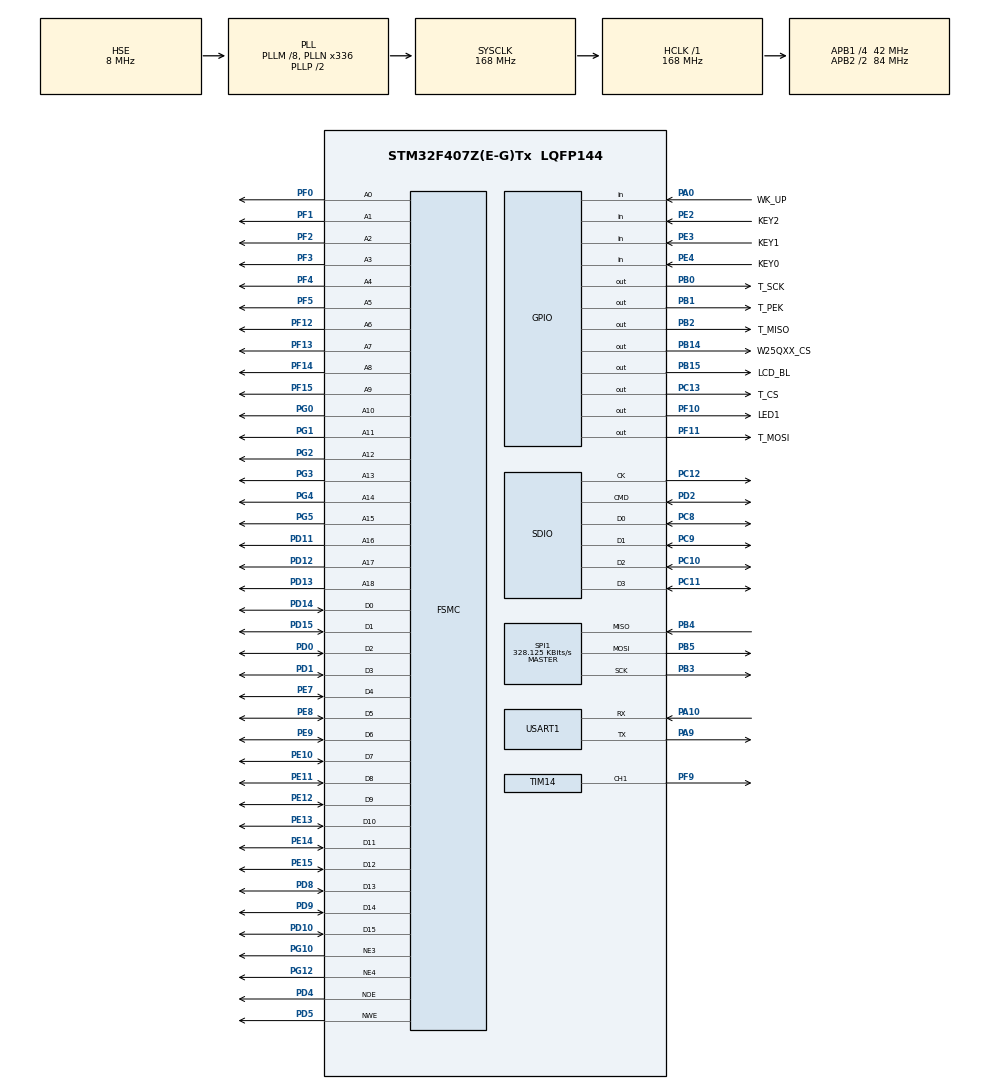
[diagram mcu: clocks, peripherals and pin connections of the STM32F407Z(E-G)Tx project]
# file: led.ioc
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FSMC.AddressSetupTime1=0xF
FSMC.AddressSetupTime2=0
FSMC.BusTurnAroundDuration1=0
FSMC.BusTurnAroundDuration2=0
FSMC.DataSetupTime1=60
FSMC.DataSetupTime2=8
FSMC.ExtendedAddressSetupTime1=9
FSMC.ExtendedBusTurnAroundDuration1=0
FSMC.ExtendedDataSetupTime1=8
FSMC.ExtendedMode1=FSMC_EXTENDED_MODE_ENABLE
FSMC.WriteOperation2=FSMC_WRITE_OPERATION_ENABLE
Mcu.Family=STM32F4
Mcu.Name=STM32F407Z(E-G)Tx
Mcu.Package=LQFP144
NVIC.PriorityGroup=NVIC_PRIORITYGROUP_4
NVIC.TIM2_IRQn=true\:0\:0\:true\:false\:true\:true\:true
NVIC.TIM8_TRG_COM_TIM14_IRQn=true\:0\:0\:false\:false\:true\:true\:true
PA0-WKUP.GPIO_Label=WK_UP
PA0-WKUP.GPIO_PuPd=GPIO_PULLDOWN
PA0-WKUP.Signal=GPIO_Input
PA10.Mode=Asynchronous
PA10.Signal=USART1_RX
PA13.Mode=Serial_Wire
PA13.Signal=SYS_JTMS-SWDIO
PA14.Mode=Serial_Wire
PA14.Signal=SYS_JTCK-SWCLK
PA9.Mode=Asynchronous
PA9.Signal=USART1_TX
PB0.GPIO_Label=T_SCK
PB0.Signal=GPIO_Output
PB1.GPIO_Label=T_PEK
PB1.Signal=GPIO_Output
PB14.GPIO_Label=W25QXX_CS
PB14.Signal=GPIO_Output
PB15.GPIO_Label=LCD_BL
PB15.Signal=GPIO_Output
PB2.GPIO_Label=T_MISO
PB2.Signal=GPIO_Output
PB3.Mode=Full_Duplex_Master
PB3.Signal=SPI1_SCK
PB4.Mode=Full_Duplex_Master
PB4.Signal=SPI1_MISO
PB5.Mode=Full_Duplex_Master
PB5.Signal=SPI1_MOSI
PC10.Mode=SD_4_bits_Wide_bus
PC10.Signal=SDIO_D2
PC11.Mode=SD_4_bits_Wide_bus
PC11.Signal=SDIO_D3
PC12.Mode=SD_4_bits_Wide_bus
PC12.Signal=SDIO_CK
PC13-ANTI_TAMP.GPIO_Label=T_CS
PC13-ANTI_TAMP.Signal=GPIO_Output
PC8.Mode=SD_4_bits_Wide_bus
PC8.Signal=SDIO_D0
PC9.Mode=SD_4_bits_Wide_bus
PC9.Signal=SDIO_D1
PD0.Signal=FSMC_D2_DA2
PD1.Signal=FSMC_D3_DA3
PD10.Signal=FSMC_D15_DA15
PD11.Signal=FSMC_A16_CLE
PD12.Signal=FSMC_A17_ALE
PD13.Signal=FSMC_A18
PD14.Signal=FSMC_D0_DA0
PD15.Signal=FSMC_D1_DA1
PD2.Mode=SD_4_bits_Wide_bus
PD2.Signal=SDIO_CMD
PD4.Signal=FSMC_NOE
PD5.Signal=FSMC_NWE
PD8.Signal=FSMC_D13_DA13
PD9.Signal=FSMC_D14_DA14
PE10.Signal=FSMC_D7_DA7
PE11.Signal=FSMC_D8_DA8
PE12.Signal=FSMC_D9_DA9
PE13.Signal=FSMC_D10_DA10
PE14.Signal=FSMC_D11_DA11
PE15.Signal=FSMC_D12_DA12
PE2.GPIO_Label=KEY2
PE2.GPIO_PuPd=GPIO_PULLUP
PE2.Signal=GPIO_Input
PE3.GPIO_Label=KEY1
PE3.GPIO_PuPd=GPIO_PULLUP
PE3.Signal=GPIO_Input
PE4.GPIO_Label=KEY0
PE4.GPIO_PuPd=GPIO_PULLUP
PE4.Signal=GPIO_Input
PE7.Signal=FSMC_D4_DA4
PE8.Signal=FSMC_D5_DA5
PE9.Signal=FSMC_D6_DA6
PF0.Signal=FSMC_A0
PF1.Signal=FSMC_A1
PF10.GPIO_Label=LED1
PF10.Signal=GPIO_Output
PF11.GPIO_Label=T_MOSI
PF11.Signal=GPIO_Output
PF12.Signal=FSMC_A6
PF13.Signal=FSMC_A7
PF14.Signal=FSMC_A8
PF15.Signal=FSMC_A9
PF2.Signal=FSMC_A2
PF3.Signal=FSMC_A3
PF4.Signal=FSMC_A4
PF5.Signal=FSMC_A5
PF9.Signal=S_TIM14_CH1
PG0.Signal=FSMC_A10
PG1.Signal=FSMC_A11
PG10.Mode=NorPsramChipSelect3_2
PG10.Signal=FSMC_NE3
PG12.Mode=NorPsramChipSelect4_1
PG12.Signal=FSMC_NE4
PG2.Signal=FSMC_A12
PG3.Signal=FSMC_A13
PG4.Signal=FSMC_A14
PG5.Signal=FSMC_A15
PH0-OSC_IN.Mode=HSE-External-Oscillator
PH0-OSC_IN.Signal=RCC_OSC_IN
PH1-OSC_OUT.Mode=HSE-External-Oscillator
PH1-OSC_OUT.Signal=RCC_OSC_OUT
ProjectManager.HeapSize=0x200
ProjectManager.StackSize=0x400
ProjectManager.TargetToolchain=MDK-ARM V5.27
RCC.48MHZClocksFreq_Value=42000000
RCC.AHBFreq_Value=168000000
RCC.APB1CLKDivider=RCC_HCLK_DIV4
RCC.APB1Freq_Value=42000000
RCC.APB1TimFreq_Value=84000000
RCC.APB2CLKDivider=RCC_HCLK_DIV2
RCC.APB2Freq_Value=84000000
RCC.APB2TimFreq_Value=168000000
RCC.CortexFreq_Value=168000000
RCC.HCLKFreq_Value=168000000
RCC.HSE_VALUE=8000000
RCC.HSI_VALUE=16000000
RCC.LSE_VALUE=32768
RCC.PLLM=8
RCC.PLLN=336
RCC.PLLQ=8
RCC.PLLSourceVirtual=RCC_PLLSOURCE_HSE
RCC.SYSCLKFreq_VALUE=168000000
RCC.SYSCLKSource=RCC_SYSCLKSOURCE_PLLCLK
RCC.VCOOutputFreq_Value=336000000
SH.FSMC_A0.0=FSMC_A0,19b-a2
SH.FSMC_A1.0=FSMC_A1,19b-a2
SH.FSMC_A10.0=FSMC_A10,19b-a2
SH.FSMC_A11.0=FSMC_A11,19b-a2
SH.FSMC_A12.0=FSMC_A12,19b-a2
SH.FSMC_A13.0=FSMC_A13,19b-a2
SH.FSMC_A14.0=FSMC_A14,19b-a2
SH.FSMC_A15.0=FSMC_A15,19b-a2
SH.FSMC_A16_CLE.0=FSMC_A16,19b-a2
SH.FSMC_A17_ALE.0=FSMC_A17,19b-a2
SH.FSMC_A18.0=FSMC_A18,19b-a2
SH.FSMC_A2.0=FSMC_A2,19b-a2
SH.FSMC_A3.0=FSMC_A3,19b-a2
SH.FSMC_A4.0=FSMC_A4,19b-a2
SH.FSMC_A5.0=FSMC_A5,19b-a2
SH.FSMC_A6.0=FSMC_A6,A6_1
SH.FSMC_A6.1=FSMC_A6,19b-a2
SH.FSMC_A7.0=FSMC_A7,19b-a2
SH.FSMC_A8.0=FSMC_A8,19b-a2
SH.FSMC_A9.0=FSMC_A9,19b-a2
SH.FSMC_D0_DA0.0=FSMC_D0,16b-d1
SH.FSMC_D0_DA0.1=FSMC_D0,8b-d2
SH.FSMC_D10_DA10.0=FSMC_D10,16b-d1
SH.FSMC_D11_DA11.0=FSMC_D11,16b-d1
SH.FSMC_D12_DA12.0=FSMC_D12,16b-d1
SH.FSMC_D13_DA13.0=FSMC_D13,16b-d1
SH.FSMC_D14_DA14.0=FSMC_D14,16b-d1
SH.FSMC_D15_DA15.0=FSMC_D15,16b-d1
SH.FSMC_D1_DA1.0=FSMC_D1,16b-d1
SH.FSMC_D1_DA1.1=FSMC_D1,8b-d2
SH.FSMC_D2_DA2.0=FSMC_D2,16b-d1
SH.FSMC_D2_DA2.1=FSMC_D2,8b-d2
SH.FSMC_D3_DA3.0=FSMC_D3,16b-d1
SH.FSMC_D3_DA3.1=FSMC_D3,8b-d2
SH.FSMC_D4_DA4.0=FSMC_DA4
SH.FSMC_D4_DA4.1=FSMC_D4,16b-d1
SH.FSMC_D4_DA4.2=FSMC_D4,8b-d2
SH.FSMC_D5_DA5.0=FSMC_D5,16b-d1
SH.FSMC_D5_DA5.1=FSMC_D5,8b-d2
SH.FSMC_D6_DA6.0=FSMC_D6,16b-d1
SH.FSMC_D6_DA6.1=FSMC_D6,8b-d2
SH.FSMC_D7_DA7.0=FSMC_D7,16b-d1
SH.FSMC_D7_DA7.1=FSMC_D7,8b-d2
SH.FSMC_D8_DA8.0=FSMC_D8,16b-d1
SH.FSMC_D9_DA9.0=FSMC_D9,16b-d1
SH.FSMC_NOE.0=FSMC_NOE,Lcd1
SH.FSMC_NOE.1=FSMC_NOE,Sram2
SH.FSMC_NWE.0=FSMC_NWE,Lcd1
SH.FSMC_NWE.1=FSMC_NWE,Sram2
SH.S_TIM14_CH1.0=TIM14_CH1,PWM Generation1 CH1
SPI1.BaudRatePrescaler=SPI_BAUDRATEPRESCALER_256
SPI1.CLKPhase=SPI_PHASE_2EDGE
SPI1.CLKPolarity=SPI_POLARITY_HIGH
SPI1.CRCCalculation=SPI_CRCCALCULATION_ENABLE
SPI1.CalculateBaudRate=328.125 KBits/s
SPI1.Direction=SPI_DIRECTION_2LINES
SPI1.Mode=SPI_MODE_MASTER
SPI1.VirtualType=VM_MASTER
TIM14.Channel=TIM_CHANNEL_1
TIM14.Period=3000-1
TIM14.Prescaler=84-1
TIM2.Period=999
TIM2.Prescaler=83
TIM3.Period=1
TIM3.Prescaler=83
USART1.VirtualMode=VM_ASYNC
VP_TIM14_VS_ClockSourceINT.Mode=Enable_Timer
VP_TIM2_VS_ClockSourceINT.Mode=Internal
VP_TIM3_VS_ClockSourceINT.Mode=Internal
board=custom

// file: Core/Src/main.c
/* USER CODE BEGIN Header */
/**
  ******************************************************************************
  * @file           : main.c
  * @brief          : Main program body
  ******************************************************************************
  * @attention
  *
  * <h2><center>&copy; Copyright (c) 2020 STMicroelectronics.
  * All rights reserved.</center></h2>
  *
  * This software component is licensed by ST under BSD 3-Clause license,
  * the "License"; You may not use this file except in compliance with the
  * License. You may obtain a copy of the License at:
  *                        opensource.org/licenses/BSD-3-Clause
  *
  ******************************************************************************
  */
/* USER CODE END Header */
#include "main.h"
#include "sdio.h"
#include "spi.h"
#include "tim.h"
#include "usart.h"
#include "gpio.h"
#include "fsmc.h"

/* USER CODE BEGIN Includes */
#include "key.h"
#include "os.h"
#include "lcd.h"
#include "touch.h"
#include "mydelay.h"
#include "sram.h"
#include "ctrl.h"
#include "mymalloc.h"
#include "w25qxx.h"
/* USER CODE END Includes */

void SystemClock_Config(void);

/* USER CODE BEGIN 0 */

#ifdef __GNUC__
/* With GCC, small printf (option LD Linker->Libraries->Small printf
   set to 'Yes') calls __io_putchar() */
#define PUTCHAR_PROTOTYPE int __io_putchar(int ch)
#else
#define PUTCHAR_PROTOTYPE int fputc(int ch, FILE *f)
#endif /* __GNUC__ */

PUTCHAR_PROTOTYPE
{
    HAL_UART_Transmit(&huart1 , (uint8_t *)&ch, 1, 0xFFFF);
    return ch;
}

/* USER CODE END 0 */

int main(void)
{

  /* MCU Configuration--------------------------------------------------------*/

  /* Reset of all peripherals, Initializes the Flash interface and the Systick. */
  HAL_Init();

  /* Configure the system clock */
  SystemClock_Config();

  /* Initialize all configured peripherals */
  MX_GPIO_Init();
  MX_TIM2_Init();
  MX_TIM14_Init();
  MX_USART1_UART_Init();
  MX_FSMC_Init();
  MX_SPI1_Init();
  MX_TIM3_Init();
  MX_SDIO_SD_Init();
  /* USER CODE BEGIN 2 */
	HAL_TIM_Base_Start_IT(&htim2); //系统调度定时器

	HAL_TIM_PWM_Start(&htim14, TIM_CHANNEL_1); //pwm定时器
	LCD_Init();
	W25QXX_Init();
	OSTaskInit();

//    u16 pwm_time = 0;
//    u8 pwm_flag = 0;
  /* USER CODE END 2 */

  /* Infinite loop */
  /* USER CODE BEGIN WHILE */
	my_mem_init(SRAMIN);		//初始化内部内存池
	my_mem_init(SRAMEX);		//初始化外部内存池
	my_mem_init(SRAMCCM);		//初始化CCM内存池

		POINT_COLOR=RED;
	LCD_ShowString(30,40,210,24,24,"super mario");
	LCD_ShowString(30,70,200,16,16,"AMD yse");
	LCD_ShowString(30,90,200,16,16,"JeremyLin");
	LCD_ShowString(30,130,200,12,12,"2020/12/21");

	POINT_COLOR=BLUE;//设置字体为蓝色
	while(W25QXX_ReadID()!=W25Q128)								//检测不到W25Q128
	{
		LCD_ShowString(30,150,200,16,16,"W25Q128 Check Failed!");
		HAL_Delay(500);
		LCD_ShowString(30,150,200,16,16,"Please Check!      ");
		HAL_Delay(500);
		LED=!LED;		//DS0闪烁
	}
	LCD_ShowString(30,150,200,16,16,"W25Q128 Ready!");
  while (1)
  {
    /* USER CODE END WHILE */

    /* USER CODE BEGIN 3 */
			OSTaskScan();

  }
  /* USER CODE END 3 */
}

void SystemClock_Config(void)
{
  RCC_OscInitTypeDef RCC_OscInitStruct = {0};
  RCC_ClkInitTypeDef RCC_ClkInitStruct = {0};

  /** Configure the main internal regulator output voltage
  */
  __HAL_RCC_PWR_CLK_ENABLE();
  __HAL_PWR_VOLTAGESCALING_CONFIG(PWR_REGULATOR_VOLTAGE_SCALE1);
  /** Initializes the RCC Oscillators according to the specified parameters
  * in the RCC_OscInitTypeDef structure.
  */
  RCC_OscInitStruct.OscillatorType = RCC_OSCILLATORTYPE_HSE;
  RCC_OscInitStruct.HSEState = RCC_HSE_ON;
  RCC_OscInitStruct.PLL.PLLState = RCC_PLL_ON;
  RCC_OscInitStruct.PLL.PLLSource = RCC_PLLSOURCE_HSE;
  RCC_OscInitStruct.PLL.PLLM = 8;
  RCC_OscInitStruct.PLL.PLLN = 336;
  RCC_OscInitStruct.PLL.PLLP = RCC_PLLP_DIV2;
  RCC_OscInitStruct.PLL.PLLQ = 8;
  if (HAL_RCC_OscConfig(&RCC_OscInitStruct) != HAL_OK)
  {
    Error_Handler();
  }
  /** Initializes the CPU, AHB and APB buses clocks
  */
  RCC_ClkInitStruct.ClockType = RCC_CLOCKTYPE_HCLK|RCC_CLOCKTYPE_SYSCLK
                              |RCC_CLOCKTYPE_PCLK1|RCC_CLOCKTYPE_PCLK2;
  RCC_ClkInitStruct.SYSCLKSource = RCC_SYSCLKSOURCE_PLLCLK;
  RCC_ClkInitStruct.AHBCLKDivider = RCC_SYSCLK_DIV1;
  RCC_ClkInitStruct.APB1CLKDivider = RCC_HCLK_DIV4;
  RCC_ClkInitStruct.APB2CLKDivider = RCC_HCLK_DIV2;

  if (HAL_RCC_ClockConfig(&RCC_ClkInitStruct, FLASH_LATENCY_5) != HAL_OK)
  {
    Error_Handler();
  }
}

void Error_Handler(void)
{
}

/************************ (C) COPYRIGHT STMicroelectronics *****END OF FILE****/
